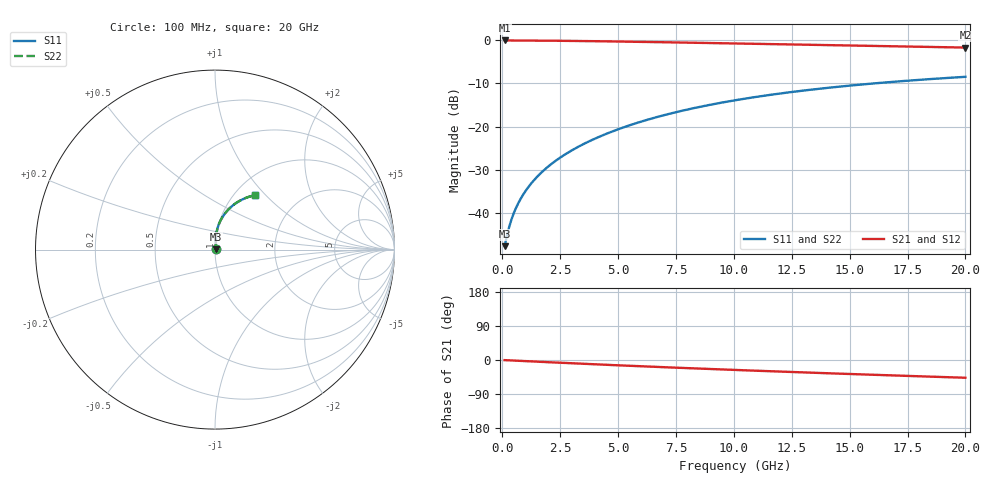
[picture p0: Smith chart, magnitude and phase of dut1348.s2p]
! Touchstone file exported from HFSS 2024.1.0
!  File:  C:/UserFiles/LocalFiles/RDL_TSV_Batchsim/temp_RDL_bottom_1348_1780370178.aedt
!  Generated:  11:19:05 AM Jun  2, 2026
!  Design:  RDL_bottom
!  Project:  temp_RDL_bottom_1348_1780370178
!  Setup:  Setup1
!  Solution:  Sweep
! Variables:
!  dtsv = 10.80580581um
!  hbump = 3um
!  htsv = 54.86um
!  ldown = 691.49um
!  lrdl = 100um
!  p = 40
!  p1 = 51.35um
!  rhole = 1um
!  t = 450um
!  tdown = 2.83um
!  trdl = 3.915915916um
!  wdown = 26.16um
!  wrdl = 20um
# GHz S MA R 50.000000
! Terminal data exported
! Port[1] = RDL1_T1
! Port[2] = RDL1_T2
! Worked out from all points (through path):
!   200 points, 100 MHz to 20 GHz, reference 50 ohm
!   highest |S21| = -0.03 dB at 100 MHz (marker M1); lowest = -1.7 dB at 20 GHz (marker M2)
!   group delay of S21, straight-line fit = 6.43 ps
!   lowest |S11| = -47.8 dB at 100 MHz (marker M3), VSWR 1.01, Z = 50.4 + j0.198 ohm
!   |S11| at or under -10 dB: start of sweep to 16.04 GHz
!   |S22| runs from -47.8 to -8.5 dB; largest |S21 - S12| = 5.3e-15
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0.1  0.004091 28.8  0.9964 -0.3  0.9964 -0.3  0.004091 28.8
! Gamma 0 0 0 0
! Port Impedance 50 0 50 0
0.2  0.005382 45.7  0.9962 -0.6  0.9962 -0.6  0.005382 45.7
0.3  0.006878 54.8  0.9959 -0.9  0.9959 -0.9  0.006878 54.8
0.4  0.008407 60.6  0.9956 -1.2  0.9956 -1.2  0.008407 60.6
0.5  0.009939 64.6  0.9954 -1.5  0.9954 -1.5  0.009939 64.6
0.6  0.01148 67.7  0.9951 -1.8  0.9951 -1.8  0.01148 67.7
0.8  0.0146 72.2  0.9946 -2.4  0.9946 -2.4  0.0146 72.2
1  0.01779 75.4  0.9941 -2.9  0.9941 -2.9  0.01779 75.4
1.2  0.02104 77.7  0.9935 -3.5  0.9935 -3.5  0.02104 77.7
1.7  0.02944 81.4  0.9916 -5.0  0.9916 -5.0  0.02944 81.4
2.2  0.03818 83.5  0.9892 -6.4  0.9892 -6.4  0.03819 83.5
2.8  0.04911 84.8  0.9858 -8.1  0.9858 -8.1  0.04911 84.9
3.5  0.06243 85.5  0.981 -10.0  0.981 -10.0  0.06244 85.5
4.2  0.07633 85.5  0.9755 -11.9  0.9755 -11.9  0.07635 85.6
5  0.09282 85.0  0.9687 -14.0  0.9687 -14.0  0.09285 85.0
6.8  0.1314 82.3  0.9519 -18.6  0.9519 -18.6  0.1315 82.4
8.4  0.1662 79.1  0.9362 -22.4  0.9362 -22.4  0.1663 79.1
10.1  0.2026 75.2  0.9193 -26.4  0.9193 -26.4  0.2027 75.3
11.7  0.2356 71.5  0.9033 -29.9  0.9033 -29.9  0.2357 71.6
13.4  0.2688 67.6  0.8865 -33.6  0.8865 -33.6  0.269 67.6
16.7  0.3272 60.2  0.8546 -40.4  0.8546 -40.4  0.3274 60.3
20  0.3771 53.4  0.8238 -46.8  0.8238 -46.8  0.3774 53.5
